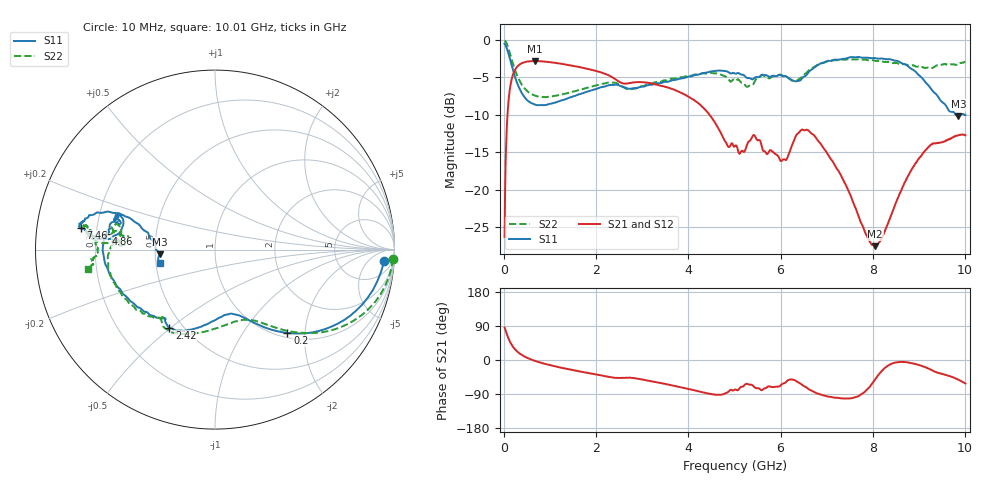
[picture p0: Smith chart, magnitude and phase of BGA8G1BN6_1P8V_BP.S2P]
!Agilent Technologies,E5071C,MY46317100,A.11.08
!Date: Tue Jan 31 20:44:15 2017
!Data & Calibration Information:
!Freq	S11:SOLT2(ON)	S21:SOLT2(ON)	S12:SOLT2(ON)	S22:SOLT2(ON)
!PortZ  Port1:50+j0  Port2:50+j0
!Above PortZ is port z conversion or system Z0 setting when saving the data.
!When reading, reference impedance value at option line is always used.
# Hz S dB R 50
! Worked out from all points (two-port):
!   1001 points, 10 MHz to 10.01 GHz, reference 50 ohm
!   highest |S21| = -2.82 dB at 670 MHz (marker M1); lowest = -27.5 dB at 8.05 GHz (marker M2)
!   |S21| within 3 dB of the highest: 144.3 MHz to 2.602 GHz (2.458 GHz wide, 179 % of centre); 2.661 GHz to 3.207 GHz (546.1 MHz wide, 18.6 % of centre)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
!   lowest |S11| = -10.2 dB at 9.86 GHz (marker M3), VSWR 1.89, Z = 26.4 - j1.52 ohm
!   |S11| at or under -10 dB: 9.805 GHz to 9.906 GHz (101 MHz wide, 1.02 % of centre); 9.989232 GHz to 9.992231 GHz (2.999 MHz wide, 0.03 % of centre); 10.00502 GHz to end of sweep
!   |S22| runs from -7.6 to -0.1 dB; largest |S21 - S12| = 0.0054
!   S11 on the Smith chart (normalised r, x): 10 MHz: 14, -17; 200 MHz: 1.09, -1.62; 2.42 GHz: 0.42, -0.49; 4.86 GHz: 0.24, +0.07; 7.46 GHz: 0.14, +0.08; 10.01 GHz: 0.53, -0.09
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1e7  -0.50 -4.0  -26.28 85.7  -26.32 86.0  -0.07 -3.1
9e7  -1.75 -28.8  -8.47 58.0  -8.47 58.0  -1.07 -25.3
2e8  -4.22 -49.0  -4.48 33.5  -4.46 33.5  -3.35 -43.1
3.7e8  -6.94 -63.1  -3.14 14.4  -3.13 14.3  -5.84 -55.1
6.7e8  -8.63 -74.7  -2.82 -2.4  -2.80 -2.5  -7.42 -66.8
1.68e9  -7.14 -100.9  -3.68 -31.1  -3.66 -31.3  -6.60 -99.8
2.42e9  -5.95 -120.3  -5.26 -47.1  -5.25 -47.3  -5.72 -123.5
3.35e9  -5.78 -135.7  -6.03 -59.8  -6.01 -60.2  -5.62 -135.9
4.25e9  -4.55 -163.6  -8.60 -83.5  -8.60 -84.0  -4.54 -162.0
4.86e9  -4.27 172.0  -14.20 -84.3  -14.20 -84.9  -5.15 175.2
5.01e9  -4.48 168.9  -14.15 -77.6  -14.14 -78.2  -5.46 175.1
5.17e9  -4.63 164.7  -14.79 -70.4  -14.77 -71.0  -5.71 171.9
5.43e9  -5.10 165.1  -12.71 -71.4  -12.69 -72.0  -5.63 177.6
6.05e9  -4.84 161.0  -15.95 -62.5  -15.94 -63.0  -4.78 166.8
6.41e9  -5.43 168.8  -12.26 -60.6  -12.25 -61.5  -5.17 174.0
6.68e9  -3.92 174.6  -12.52 -81.3  -12.51 -82.1  -3.76 176.4
7.46e9  -2.40 170.8  -19.93 -101.6  -19.95 -102.5  -2.57 169.9
8.05e9  -2.41 168.4  -27.50 -51.9  -27.51 -52.5  -2.77 169.7
8.35e9  -2.56 166.6  -24.11 -13.3  -24.16 -14.5  -2.93 170.8
9.06e9  -5.02 159.4  -15.38 -15.5  -15.35 -16.5  -3.56 177.6
9.86e9  -10.20 -175.2  -12.69 -52.0  -12.69 -53.1  -3.20 -173.0
1.001e10  -10.02 -165.9  -12.72 -62.0  -12.68 -62.9  -2.90 -171.4
